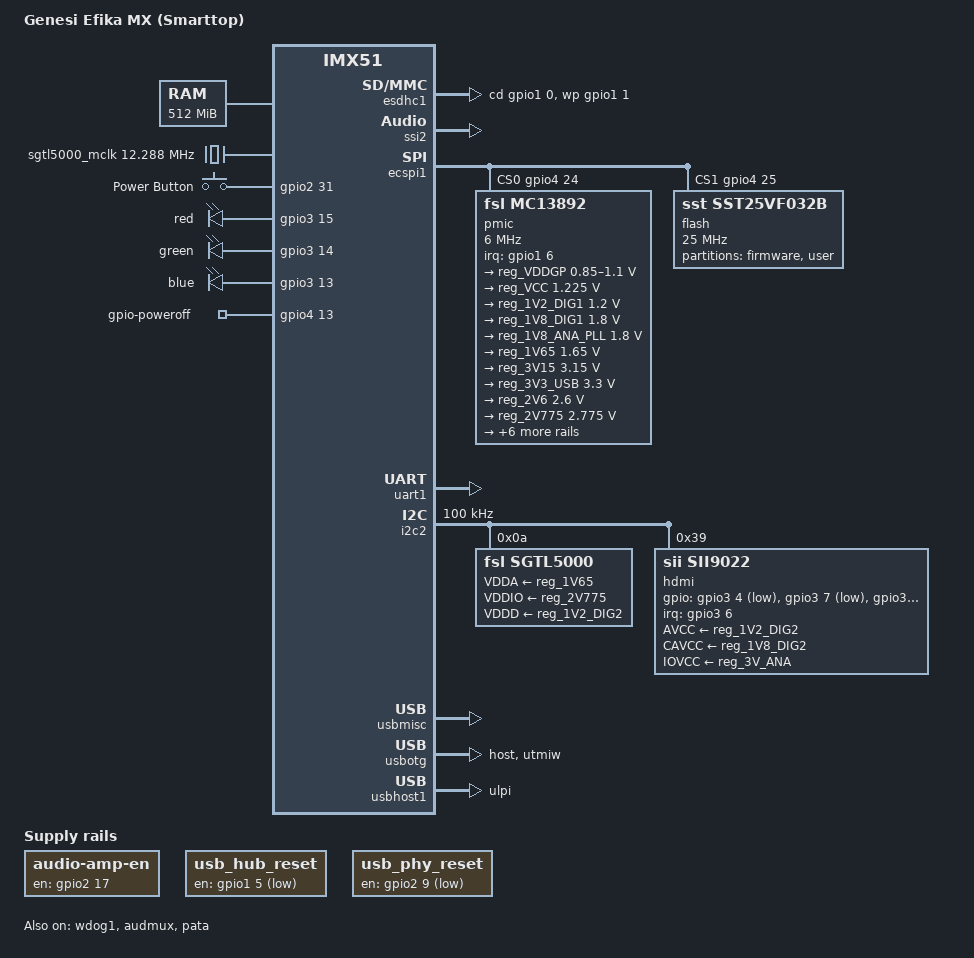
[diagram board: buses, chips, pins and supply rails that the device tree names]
/*
 * Copyright 2011 Freescale Semiconductor, Inc.
 * Copyright 2011 Linaro Ltd.
 * Copyright 2012 Genesi USA, Inc.
 *
 * The code contained herein is licensed under the GNU General Public
 * License. You may obtain a copy of the GNU General Public License
 * Version 2 or later at the following locations:
 *
 * http://www.opensource.org/licenses/gpl-license.html
 * http://www.gnu.org/copyleft/gpl.html
 */

/dts-v1/;
/include/ "imx51.dtsi"

/ {
	model = "Genesi Efika MX (Smarttop)";
	compatible = "genesi,imx51-efikamx", "fsl,imx51";

	memory {
		reg = <0x90000000 0x20000000>;
	};

	cpus {
		cpu@0 {
			cpu0-supply = <&reg_VDDGP>;
		};
	};

	clocks {
		sgtl5000_mclk: sgtl5000_mclk {
			#clock-cells = <0>;
			compatible = "fixed-clock";
			clock-frequency = <12288000>;
			clock-output-names = "sgtl5000_mclk";
		};

		/* this one is wishful thinking for now.. */
		sgtl5000_gate: sgtl5000_gate {
			#clock-cells = <0>;
			compatible = "xxx,gpio-gate-clock";
			gpio = <&gpio1 9 1>;
			clocks = <&sgtl5000_mclk>;
			clock-names = "mclk";
		};
	};

	gpio-keys {
		compatible = "gpio-keys";

		power {
			label = "Power Button";
			gpios = <&gpio2 31 0>;
			linux,code = <116>; /* KEY_POWER */
			gpio-key,wakeup;
		};
	};

	gpio-leds {
		compatible = "gpio-leds";

		red {
			label = "red";
			gpios = <&gpio3 15 0>;
			linux,default-trigger = "ide-disk";
		};

		green {
			label = "green";
			gpios = <&gpio3 14 0>;
			linux,default-trigger = "default-on";
		};

		blue {
			label = "blue";
			gpios = <&gpio3 13 0>;
			linux,default-trigger = "mmc0";
		};
	};

	gpio-poweroff {
		compatible = "gpio-poweroff";
		gpios = <&gpio4 13 0>;
	};

	sound {
		compatible = "fsl,imx-audio-sgtl5000";
		model = "efikamx-sgtl5000";
		ssi-controller = <&ssi2>;
		audio-routing =
			"MIC_IN", "Mic Jack",
			"Mic Jack", "Mic Bias",
			"Ext Spk", "LINE_OUT";
		audio-codec = <&sgtl5000>;
		mux-int-port = <2>;
		mux-ext-port = <3>;
	};


	audio-amp-en {
		compatible = "regulator-fixed";
		regulator-name = "audio-amp-en";
		gpio = <&gpio2 17 0>;
		enable-active-high;
		regulator-boot-on;
		regulator-always-on;
	};

	usb_hub_reset: usb-hub-reset {
		compatible = "regulator-fixed";
		regulator-name = "usb-hub-reset";
		gpio = <&gpio1 5 1>;
		enable-active-low;
	};

	usb_phy_reset: usb-phy-reset {
		compatible = "regulator-fixed";
		regulator-name = "usb-phy-reset";
		gpio = <&gpio2 9 1>;
		enable-active-low;
	};


/* regulator test to turn on red led. make sure red gpio-leds is commented out if you do this! */ 
/*
	red-led {
		compatible = "regulator-fixed";
		regulator-name = "red-led";
		gpio = <&gpio3 15 0>;
		enable-active-high;
		regulator-boot-on;
		regulator-always-on;
	};
*/
};

&esdhc1 {
	pinctrl-names = "default";
	pinctrl-0 = <&pinctrl_esdhc1_1>;
	cd-gpios = <&gpio1 0 0>;
	wp-gpios = <&gpio1 1 0>;
	status = "okay";
};

&ssi2 {
	fsl,mode = "i2s-slave";
	status = "okay";
};

&ecspi1 {
	pinctrl-names = "default";
	pinctrl-0 = <&pinctrl_ecspi1_1>;
	fsl,spi-num-chipselects = <2>;
	reg = <0x70010000 0x4000>;
	cs-gpios = <&gpio4 24 0>, <&gpio4 25 0>;
	status = "okay";

	pmic: mc13892@0 {
		#address-cells = <1>;
		#size-cells = <0>;
		compatible = "fsl,mc13892";
		spi-max-frequency = <6000000>;
		reg = <0>;
		interrupt-parent = <&gpio1>;
		interrupts = <6 0x4>;
		fsl,mc13xxx-uses-rtc;

		regulators {
			reg_VDDGP: sw1 {
				/* VDDGP - PUS_4 (i.MX51) */
				regulator-name = "VDDGP";
				regulator-min-microvolt = <850000>;
				regulator-max-microvolt = <1100000>;
				regulator-boot-on;
				regulator-always-on;
			};

			reg_VCC: sw2 {
				/* VCC - PUS_0 (peripherals) */
				regulator-name = "VCC";
				regulator-min-microvolt = <1225000>;
				regulator-max-microvolt = <1225000>;
				regulator-boot-on;
				regulator-always-on;
			};

			reg_1V2_DIG1: sw3 {
				/* 1V2_DIG1 - PUS_5 (1.2V IO supply) */
				regulator-name = "1V2_DIG1";
				regulator-min-microvolt = <1200000>;
				regulator-max-microvolt = <1200000>;
				regulator-boot-on;
				regulator-always-on;
			};

			reg_1V8_DIG1: sw4 {
				/* 1V8_DIG1 - PUS_1 (1.8V IO supply) */
				regulator-name = "1V8_DIG1";
				regulator-min-microvolt = <1800000>;
				regulator-max-microvolt = <1800000>;
				regulator-boot-on;
				regulator-always-on;
			};

			reg_1V8_ANA_PLL: vpll {
				/* 1V8_ANA_PLL - PUS_6 (PLL supply) */
				regulator-name = "1V8_ANA_PLL";
				regulator-min-microvolt = <1800000>;
				regulator-max-microvolt = <1800000>;
				regulator-boot-on;
				regulator-always-on;
			};

			reg_1V65: vdig {
				/* 1V65 - PUS_7 (SGTL5000-VDDA) */
				regulator-name = "1V65";
				regulator-min-microvolt = <1650000>;
				regulator-max-microvolt = <1650000>;
			};

			reg_3V15: vsd {
				/* 3V15 - possible supplement to 3V15_BOOT */
				regulator-name = "3V15";
				regulator-min-microvolt = <3150000>;
				regulator-max-microvolt = <3150000>;
				regulator-always-on;
			};

			reg_3V3_USB: vusb {
				/* 3V3_USB_MX51 - PUS_9 (UTMI PHY) */
				regulator-name = "3V3_USB";
				regulator-min-microvolt = <3300000>;
				regulator-max-microvolt = <3300000>;
				regulator-always-on;
			};

			reg_2V6: vusb2 {
				/* 2V6 - PUS_9 - (VCCUSBPHY) */
				regulator-name = "2V6";
				regulator-min-microvolt = <2600000>;
				regulator-max-microvolt = <2600000>;
				regulator-always-on;
			};

			reg_2V775: vvideo {
				/* 2V775 - SGTL5000-VDDIO, SGTL5000-VDDA */
				regulator-name = "2V775";
				regulator-min-microvolt = <2775000>;
				regulator-max-microvolt = <2775000>;
			};

			reg_3V_ANA: vaudio {
				/* 3V_ANA - ??? */
				regulator-name = "3V_ANA";
				regulator-min-microvolt = <3000000>;
				regulator-max-microvolt = <3000000>;
				regulator-boot-on;
				regulator-always-on;
			};

			reg_1V2_DIG2: vgen1 {
				/* 1V2_DIG2 - (SII9022-AVCC, SII9022-CAVCC, VGA, SGTL5000-VDDD) */
				regulator-name = "1V2_DIG2";
				regulator-min-microvolt = <1200000>;
				regulator-max-microvolt = <1200000>;
			};

			reg_3V15_BOOT: vgen2 {
				/* 3V15_BOOT - PUS_3 - (3.15V IO supply, SD card, VDD_FUSE) */
				regulator-name = "3V15_BOOT";
				regulator-min-microvolt = <3150000>;
				regulator-max-microvolt = <3150000>;
				regulator-boot-on;
				regulator-always-on;
			};

			reg_1V8_DIG2: vgen3 {
				/* 1V8_DIG2 - (1.8V IO supply) - 1V8_DISPLAY (VGA), USB HUB et al.*/
				regulator-name = "1V8_DIG2";
				regulator-min-microvolt = <1800000>;
				regulator-max-microvolt = <1800000>;
				regulator-boot-on;
				regulator-always-on;
			};

			reg_2V775_BOOT: viohi {
				/* 2V775_BOOT - PUS_2 */
				regulator-name = "2V775_BOOT";
				regulator-min-microvolt = <2775000>;
				regulator-max-microvolt = <2775000>;
				regulator-boot-on;
				regulator-always-on;
			};

			reg_VDD_RTC: vcoincell {
				regulator-name = "VDD_RTC";
				regulator-min-microvolt = <3000000>;
				regulator-max-microvolt = <3000000>;
				regulator-boot-on;
				regulator-always-on;
			};
		};
	};

	flash: sst25vf032b@1 {
		#address-cells = <1>;
		#size-cells = <1>;
		compatible = "sst,sst25vf032b";
		spi-max-frequency = <25000000>;
		reg = <1>;

		partition@0 {
			label = "firmware";
			reg = <0x0 0x200000>;
		};

		partition@200000 {
			label = "user";
			reg = <0x200000 0x200000>;
		};
	};
};

&iomuxc {
	compatible = "fsl,imx51-iomuxc";
	reg = <0x73fa8000 0x4000>;

	pinctrl-names = "default";
	pinctrl-0 = <&pinctrl_hog>;

	hog {
		pinctrl_hog: hoggrp {
			fsl,pins = <
				169 0x800000c0	/* MX51_PAD_EIM_DTACK__GPIO2_31 (Power button) */
				51 0x85		/* MX51_PAD_NANDF_RB3__GPIO_3_11 + 100k pullup (PCBID2) */
				53 0x85		/* MX51_PAD_NANDF_CS0__GPIO_3_16 + 100k pullup (PCBID0) */
				54 0x85		/* MX51_PAD_NANDF_CS1__GPIO_3_17 + 100k pullup (PCBID1) */
				402 0x85	/* MX51_PAD_CSPI1_SS0__GPIO4_24 */
				405 0x85	/* MX51_PAD_CSPI1_SS1__GPIO4_25 */

				694 0x85	/* MX51_PAD_GPIO1_0__SD1_CD */
				697 0x85	/* MX51_PAD_GPIO1_1__SD1_WP */

				740 0x85	/* MX51_PAD_GPIO1_6__GPIO1_6 (PMIC interrupt) */

				737 0x85	/* MX51_PAD_GPIO1_5__GPIO1_5 (USB hub reset, 0 = reset) */
				63  0x85	/* MX51_PAD_EIM_D27__GPIO2_9 (USB phy reset, 0 = reset) */

				753 0x85	/* MX51_PAD_GPIO1_9__GPIO1_9 (audio clock enable - NEKO default pad bits) */
				105 0x0		/* MX51_PAD_EIM_A23__GPIO2_17 (amp enable (100kohm pu external?) -- NEKO 100kpu in legacy is invalid all other bits 0) */
				527 0x0		/* MX51_PAD_DISPB2_SER_RS__GPIO3_8 (hp detect (100kohm pu external?) NEKO see above) */
				437 0xa5	/* MX51_PAD_OWIRE_LINE_SPDIF_OUT (SPDIF out - NEKO default pad bits ) */

				102 0x85	/* MX51_PAD_EIM_A22__GPIO2_16 (WIFI Power) */
				84 0x85		/* MX51_PAD_EIM_A16__GPIO2_10 (WIFI Reset) */
				87 0x85		/* MX51_PAD_EIM_A17__GPIO2_11 (BT Power) */

				375 0x80	/* MX51_PAD_CSI2_VSYNC__GPIO4_13 (PWRGOOD circuit interrupt - NEKO default pad bits) */
			>;
		};
	};

	audio {
		pinctrl_audio_1: audio1grp {
			fsl,pins = <
				384 0x00000025	/* MX51_PAD_AUD3_BB_TXD__AUD3_TXD */
				386 0x00000025	/* MX51_PAD_AUD3_BB_RXD__AUD3_RXD */
				389 0x00000025	/* MX51_PAD_AUD3_BB_CK__AUD3_TXC */
				391 0x00000025	/* MX51_PAD_AUD3_BB_FS__AUD3_TXFS */
			>;
		};
	};

	usbh1 {
		pinctrl_usbh1_1: usbh1grp {
			fsl,pins = <
				469 0x185 /* MX51_PAD_USBH1_STP__USBH1_STP */
				461 0x185 /* MX51_PAD_USBH1_CLK__USBH1_CLK */
				465 0x185 /* MX51_PAD_USBH1_DIR__USBH1_DIR */
				473 0x185 /* MX51_PAD_USBH1_NXT__USBH1_NXT */
				476 0x1e5 /* MX51_PAD_USBH1_DATA0__USBH1_DATA0 */
				479 0x1e5 /* MX51_PAD_USBH1_DATA1__USBH1_DATA1 */
				482 0x1e5 /* MX51_PAD_USBH1_DATA2__USBH1_DATA2 */
				485 0x1e5 /* MX51_PAD_USBH1_DATA3__USBH1_DATA3 */
				488 0x1e5 /* MX51_PAD_USBH1_DATA4__USBH1_DATA4 */
				491 0x1e5 /* MX51_PAD_USBH1_DATA5__USBH1_DATA5 */
				494 0x1e5 /* MX51_PAD_USBH1_DATA6__USBH1_DATA6 */
				498 0x1e5 /* MX51_PAD_USBH1_DATA7__USBH1_DATA7 */
			>;
		};

		pinctrl_usbh1_stp_usb_1: usbh1stpusbgrp {
			fsl,pins = <
				469 0x185 /* MX51_PAD_USBH1_STP__USBH1_STP */
			>;
		};

		pinctrl_usbh1_stp_gpio_1: usbh1stpgpiogrp {
			fsl,pins = <
				467 0x85 /* MX51_PAD_USBH1_STP__GPIO1_27 */
			>;
		};

	};

	uart1 {
		pinctrl_uart1_2: uart1grp {
			fsl,pins = <
				413 0x1c5 /* MX51_PAD_UART1_RXD__UART1_RXD */
				416 0x1c5 /* MX51_PAD_UART1_TXD__UART1_TXD */
				418 0x1c4 /* MX51_PAD_UART1_RTS__UART1_RTS */
				420 0x1c4 /* MX51_PAD_UART1_CTS__UART1_CTS */
			>;
		};
	};

	display {
		pinctrl_display1_1: display1grp {
			fsl,pins = <
				511 0x85	/* MX51_PAD_DI1_D1_CS__GPIO3_4 (DISP1 enable) */
				514 0x85	/* MX51_PAD_DISPB2_SER_DIN__GPIO3_5 (DISP1 reset) */
				517 0x40000085	/* MX51_PAD_DISPB2_SER_DIO__GPIO3_6 (HDMI interrupt) - NEKO pad def unchecked!!!! */
				521 0x85	/* MX51_PAD_DISPB2_SER_CLK__GPIO3_7 (DISP2 enable) */
			>;
		};
	};
};

&uart1 {
	pinctrl-names = "default";
	pinctrl-0 = <&pinctrl_uart1_2>;
	fsl,uart-has-rtscts;
	status = "okay";
};

&wdog1 {
	status = "okay";
};

&i2c2 {
	pinctrl-names = "default";
	pinctrl-0 = <&pinctrl_i2c2_1>;
	clock-frequency = <100000>;
	status = "okay";

	sgtl5000: sgtl5000@0a {
		compatible = "fsl,sgtl5000";
		reg = <0x0a>;
		VDDA-supply = <&reg_1V65>; // 2V775 connected here too
		VDDIO-supply = <&reg_2V775>;
		VDDD-supply = <&reg_1V2_DIG2>;
		clocks = <&sgtl5000_mclk>;
	};

	hdmi: sii9022@39 {
		compatible = "sii,sii9022";
		reg = <0x39>;
		interrupt-parent = <&gpio3>;
		interrupts = <6 0x8>;
		pinctrl-names = "default";
		pinctrl-0 = <&pinctrl_display1_1>;
		crtcs = <&ipu 0>;
		interface-pix-fmt = "rgb24";
		gpios = <&gpio3 4 1	/* enable 1 (active low) */
			 &gpio3 7 1	/* enable 2 (active low) */
			 &gpio3 5 0>;	/* reset */
		AVCC-supply = <&reg_1V2_DIG2>;
		CAVCC-supply = <&reg_1V8_DIG2>; // not true but it is a dependency
		IOVCC-supply = <&reg_3V_ANA>; // not true but works for now
	};
};

&audmux {
	pinctrl-names = "default";
	pinctrl-0 = <&pinctrl_audmux_1>;
	status = "okay";
};

&pata {
	pinctrl-names = "default";
	pinctrl-0 = <&pinctrl_pata_1>;
	status = "okay";
};

&usbmisc {
	pinctrl-names = "default";
	pinctrl-0 = <>;
	status = "okay";
};

&usbotg {
	pinctrl-names = "default";
	pinctrl-0 = <>;
	fsl,usbmisc = <&usbmisc 0>;
	dr_mode = "host";
	phy-mode = "utmiw";
	disable-over-current;
	status = "okay";
};

&usbhost1 {
	pinctrl-names = "default"; //, "stp-gpio", "stp-usb";
	pinctrl-0 = <&pinctrl_usbh1_1>;
//	pinctrl-1 = <&pinctrl_usbh1_stp_gpio_1>;
//	pinctrl-2 = <&pinctrl_usbh1_stp_usb_1>;
//	stp-gpio = <&gpio1 27 0>;
	fsl,usbmisc = <&usbmisc 1>;
	phy-mode = "ulpi";
	ext-clk;
//	disable-over-current;
	hub-supply = <&reg_1V8_DIG2>;
	hub-reset-supply = <&usb_hub_reset>;
	phy-reset-supply = <&usb_phy_reset>;
	status = "okay";
};
